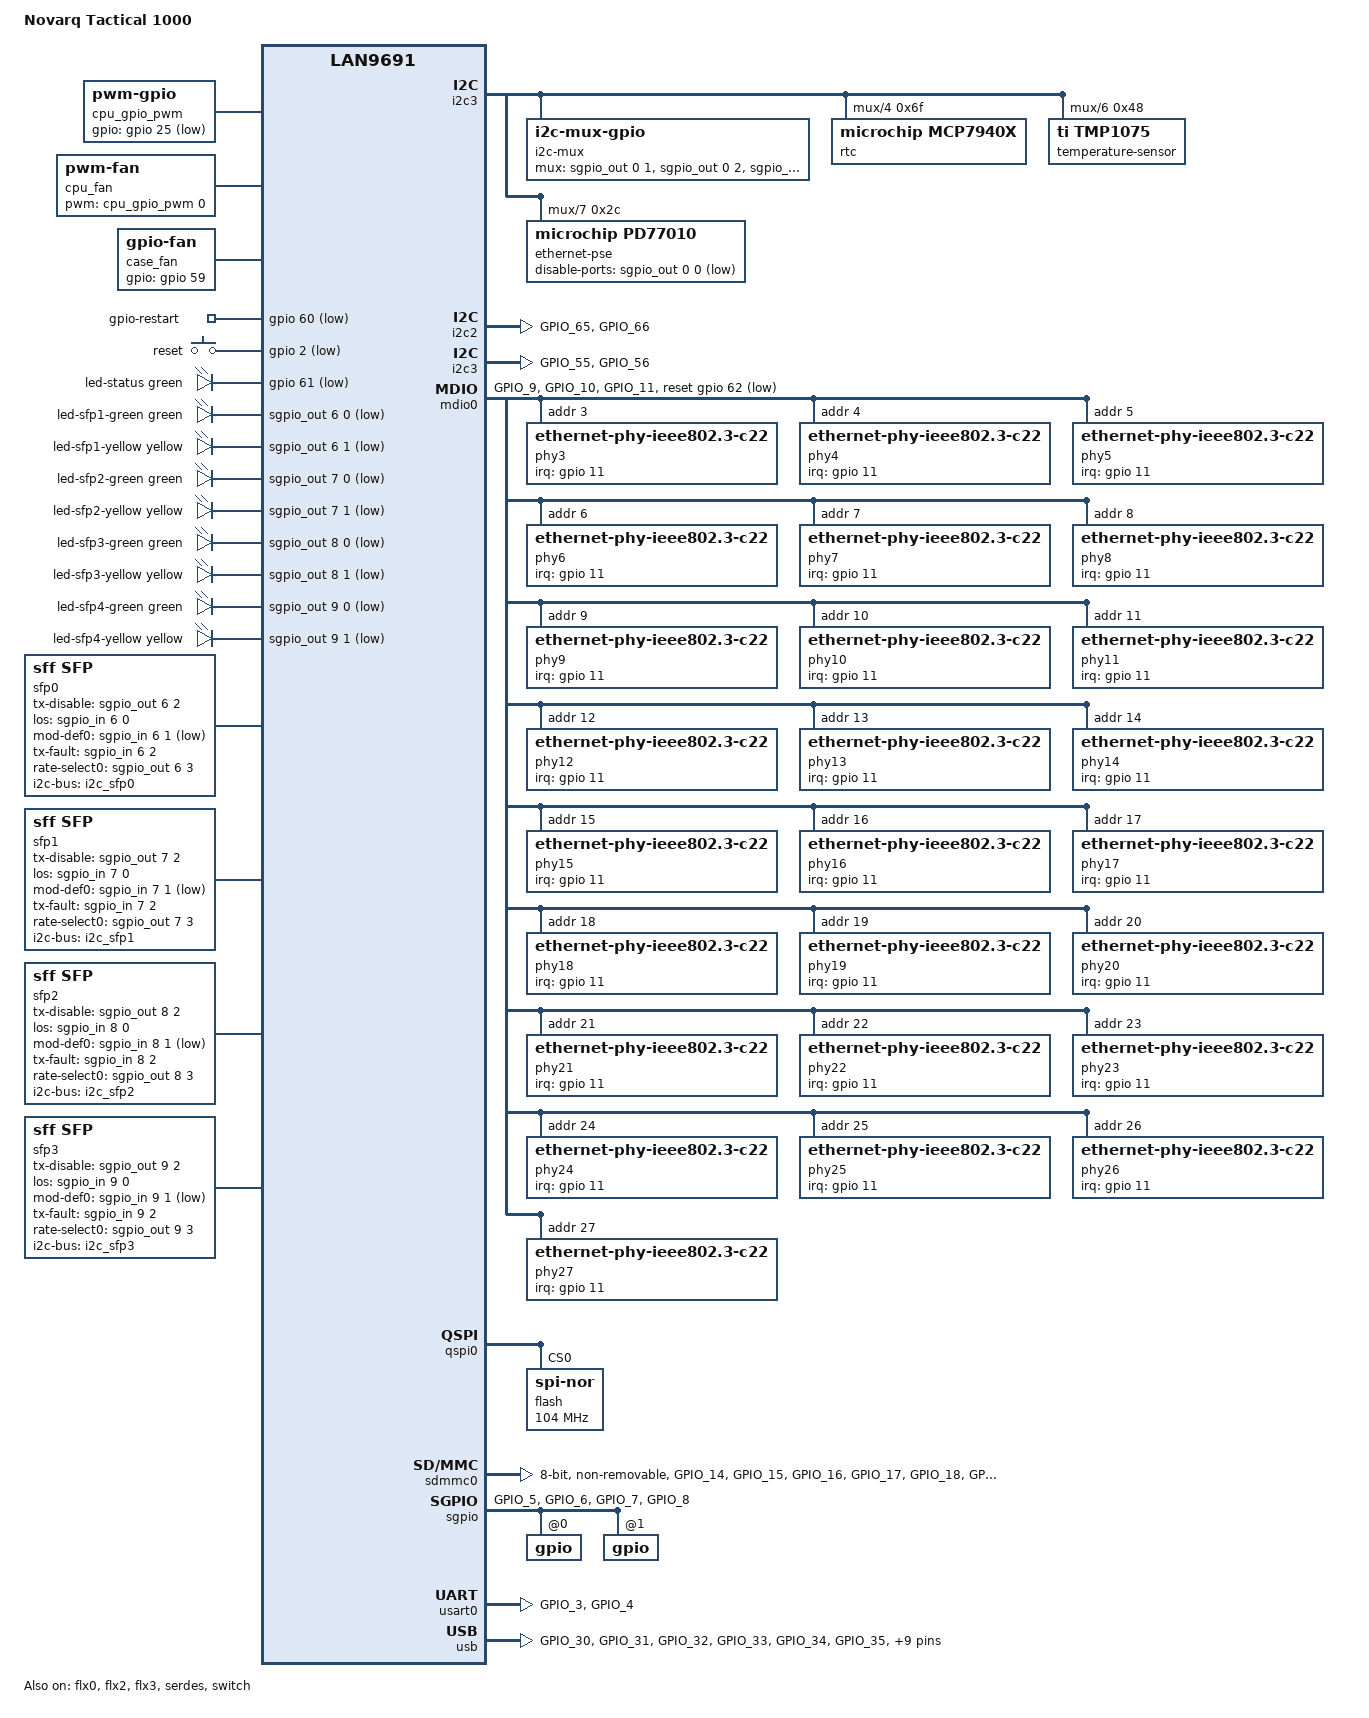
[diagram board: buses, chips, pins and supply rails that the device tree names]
// SPDX-License-Identifier: (GPL-2.0-or-later OR MIT)

/dts-v1/;

#include <dt-bindings/gpio/gpio.h>
#include <dt-bindings/input/input.h>
#include <dt-bindings/leds/common.h>
#include "lan9691.dtsi"

/ {
	model = "Novarq Tactical 1000";
	compatible = "novarq,tactical-1000", "microchip,lan9696", "microchip,lan9691";

	aliases {
		serial0 = &usart0;
	};

	chosen {
		stdout-path = "serial0:115200n8";
	};

	cpu_gpio_pwm: pwm {
		compatible = "pwm-gpio";
		gpios = <&gpio 25 GPIO_ACTIVE_LOW>;
		#pwm-cells = <3>;
	};

	cpu_fan: cpu-pwm-fan {
		compatible = "pwm-fan";
		pinctrl-names = "default";
		pinctrl-0 = <&fan_pins>;
		pwms = <&cpu_gpio_pwm 0 40000 0>;
	};

	case_fan: case-gpio-fan {
		compatible = "gpio-fan";
		#cooling-cells = <2>;
		gpios = <&gpio 59 GPIO_ACTIVE_HIGH>;
		gpio-fan,speed-map = <0	0>,
				     <2000 1>;
	};

	gpio-restart {
		compatible = "gpio-restart";
		gpios = <&gpio 60 GPIO_ACTIVE_LOW>;
		open-source;
		priority = <200>;
	};

	i2c-mux {
		compatible = "i2c-mux-gpio";
		#address-cells = <1>;
		#size-cells = <0>;
		i2c-parent = <&i2c3>;
		idle-state = <0x8>;
		mux-gpios = <&sgpio_out 0 1 GPIO_ACTIVE_HIGH>,
			    <&sgpio_out 0 2 GPIO_ACTIVE_HIGH>,
			    <&sgpio_out 0 3 GPIO_ACTIVE_HIGH>;
		settle-time-us = <100>;

		i2c_sfp2: i2c@0 {
			reg = <0x0>;
		};

		i2c_sfp1: i2c@1 {
			reg = <0x1>;
		};

		i2c_sfp0: i2c@2 {
			reg = <0x2>;
		};

		i2c_sfp3: i2c@3 {
			reg = <0x3>;
		};

		i2c_rtc: i2c@4 {
			reg = <0x4>;
			#address-cells = <1>;
			#size-cells = <0>;

			rtc@6f {
				compatible = "microchip,mcp7940x";
				reg = <0x6f>;
			};
		};

		i2c_tmp: i2c@6 {
			reg = <0x6>;
			#address-cells = <1>;
			#size-cells = <0>;

			temperature-sensor@48 {
				compatible = "ti,tmp1075";
				reg = <0x48>;
			};
		};

		i2c_poe: i2c@7 {
			reg = <0x7>;
			#address-cells = <1>;
			#size-cells = <0>;

			ethernet-pse@2c {
				compatible = "microchip,pd77010";
				reg = <0x2c>;
				disable-ports-gpios = <&sgpio_out 0 0 GPIO_ACTIVE_LOW>;

				managers {
					#address-cells = <1>;
					#size-cells = <0>;

					pd7718t3_0: manager@0 {
						reg = <0>;
						#address-cells = <1>;
						#size-cells = <0>;

						phys0: port@0 {
							reg = <0>;
						};

						phys1: port@1 {
							reg = <1>;
						};

						phys2: port@2 {
							reg = <2>;
						};

						phys3: port@3 {
							reg = <3>;
						};

						phys4: port@4 {
							reg = <4>;
						};

						phys5: port@5 {
							reg = <5>;
						};

						phys6: port@6 {
							reg = <6>;
						};

						phys7: port@7 {
							reg = <7>;
						};
					};

					pd7718t3_1: manager@1 {
						reg = <1>;
						#address-cells = <1>;
						#size-cells = <0>;

						phys8: port@0 {
							reg = <0>;
						};

						phys9: port@1 {
							reg = <1>;
						};

						phys10: port@2 {
							reg = <2>;
						};

						phys11: port@3 {
							reg = <3>;
						};

						phys12: port@4 {
							reg = <4>;
						};

						phys13: port@5 {
							reg = <5>;
						};

						phys14: port@6 {
							reg = <6>;
						};

						phys15: port@7 {
							reg = <7>;
						};
					};

					pd7718t3_2: manager@2 {
						reg = <2>;
						#address-cells = <1>;
						#size-cells = <0>;

						phys16: port@0 {
							reg = <0>;
						};

						phys17: port@1 {
							reg = <1>;
						};

						phys18: port@2 {
							reg = <2>;
						};

						phys19: port@3 {
							reg = <3>;
						};

						phys20: port@4 {
							reg = <4>;
						};

						phys21: port@5 {
							reg = <5>;
						};

						phys22: port@6 {
							reg = <6>;
						};

						phys23: port@7 {
							reg = <7>;
						};
					};

					pd7718t3_3: manager@3 {
						reg = <3>;
						#address-cells = <1>;
						#size-cells = <0>;

						phys24: port@0 {
							reg = <0>;
						};

						phys25: port@1 {
							reg = <1>;
						};

						phys26: port@2 {
							reg = <2>;
						};

						phys27: port@3 {
							reg = <3>;
						};

						phys28: port@4 {
							reg = <4>;
						};

						phys29: port@5 {
							reg = <5>;
						};

						phys30: port@6 {
							reg = <6>;
						};

						phys31: port@7 {
							reg = <7>;
						};
					};

					pd7718t3_4: manager@4 {
						reg = <4>;
						#address-cells = <1>;
						#size-cells = <0>;

						phys32: port@0 {
							reg = <0>;
						};

						phys33: port@1 {
							reg = <1>;
						};

						phys34: port@2 {
							reg = <2>;
						};

						phys35: port@3 {
							reg = <3>;
						};

						phys36: port@4 {
							reg = <4>;
						};

						phys37: port@5 {
							reg = <5>;
						};

						phys38: port@6 {
							reg = <6>;
						};

						phys39: port@7 {
							reg = <7>;
						};
					};

					pd7718t3_5: manager@5 {
						reg = <5>;
						#address-cells = <1>;
						#size-cells = <0>;

						phys40: port@0 {
							reg = <0>;
						};

						phys41: port@1 {
							reg = <1>;
						};

						phys42: port@2 {
							reg = <2>;
						};

						phys43: port@3 {
							reg = <3>;
						};

						phys44: port@4 {
							reg = <4>;
						};

						phys45: port@5 {
							reg = <5>;
						};

						phys46: port@6 {
							reg = <6>;
						};

						phys47: port@7 {
							reg = <7>;
						};
					};
				};

				pse-pis {
					#address-cells = <1>;
					#size-cells = <0>;

					pse_pi0: pse-pi@0 {
						reg = <0>;
						#pse-cells = <0>;
						pairset-names = "alternative-a", "alternative-b";
						pairsets = <&phys0>, <&phys1>;
						polarity-supported = "MDI-X", "S";
						vpwr-supply = <&pd7718t3_0>;
					};

					pse_pi1: pse-pi@1 {
						reg = <1>;
						#pse-cells = <0>;
						pairset-names = "alternative-a", "alternative-b";
						pairsets = <&phys3>, <&phys2>;
						polarity-supported = "MDI-X", "S";
						vpwr-supply = <&pd7718t3_0>;
					};

					pse_pi2: pse-pi@2 {
						reg = <2>;
						#pse-cells = <0>;
						pairset-names = "alternative-a", "alternative-b";
						pairsets = <&phys4>, <&phys5>;
						polarity-supported = "MDI-X", "S";
						vpwr-supply = <&pd7718t3_0>;
					};

					pse_pi3: pse-pi@3 {
						reg = <3>;
						#pse-cells = <0>;
						pairset-names = "alternative-a", "alternative-b";
						pairsets = <&phys7>, <&phys6>;
						polarity-supported = "MDI-X", "S";
						vpwr-supply = <&pd7718t3_0>;
					};

					pse_pi4: pse-pi@4 {
						reg = <4>;
						#pse-cells = <0>;
						pairset-names = "alternative-a", "alternative-b";
						pairsets = <&phys8>, <&phys9>;
						polarity-supported = "MDI-X", "S";
						vpwr-supply = <&pd7718t3_1>;
					};

					pse_pi5: pse-pi@5 {
						reg = <5>;
						#pse-cells = <0>;
						pairset-names = "alternative-a", "alternative-b";
						pairsets = <&phys11>, <&phys10>;
						polarity-supported = "MDI-X", "S";
						vpwr-supply = <&pd7718t3_1>;
					};

					pse_pi6: pse-pi@6 {
						reg = <6>;
						#pse-cells = <0>;
						pairset-names = "alternative-a", "alternative-b";
						pairsets = <&phys12>, <&phys13>;
						polarity-supported = "MDI-X", "S";
						vpwr-supply = <&pd7718t3_1>;
					};

					pse_pi7: pse-pi@7 {
						reg = <7>;
						#pse-cells = <0>;
						pairset-names = "alternative-a", "alternative-b";
						pairsets = <&phys15>, <&phys14>;
						polarity-supported = "MDI-X", "S";
						vpwr-supply = <&pd7718t3_1>;
					};

					pse_pi8: pse-pi@8 {
						reg = <8>;
						#pse-cells = <0>;
						pairset-names = "alternative-a", "alternative-b";
						pairsets = <&phys16>, <&phys17>;
						polarity-supported = "MDI-X", "S";
						vpwr-supply = <&pd7718t3_2>;
					};

					pse_pi9: pse-pi@9 {
						reg = <9>;
						#pse-cells = <0>;
						pairset-names = "alternative-a", "alternative-b";
						pairsets = <&phys19>, <&phys18>;
						polarity-supported = "MDI-X", "S";
						vpwr-supply = <&pd7718t3_2>;
					};

					pse_pi10: pse-pi@10 {
						reg = <10>;
						#pse-cells = <0>;
						pairset-names = "alternative-a", "alternative-b";
						pairsets = <&phys20>, <&phys21>;
						polarity-supported = "MDI-X", "S";
						vpwr-supply = <&pd7718t3_2>;
					};

					pse_pi11: pse-pi@11 {
						reg = <11>;
						#pse-cells = <0>;
						pairset-names = "alternative-a", "alternative-b";
						pairsets = <&phys23>, <&phys22>;
						polarity-supported = "MDI-X", "S";
						vpwr-supply = <&pd7718t3_2>;
					};

					pse_pi12: pse-pi@12 {
						reg = <12>;
						#pse-cells = <0>;
						pairset-names = "alternative-a", "alternative-b";
						pairsets = <&phys24>, <&phys25>;
						polarity-supported = "MDI-X", "S";
						vpwr-supply = <&pd7718t3_3>;
					};

					pse_pi13: pse-pi@13 {
						reg = <13>;
						#pse-cells = <0>;
						pairset-names = "alternative-a", "alternative-b";
						pairsets = <&phys27>, <&phys26>;
						polarity-supported = "MDI-X", "S";
						vpwr-supply = <&pd7718t3_3>;
					};

					pse_pi14: pse-pi@14 {
						reg = <14>;
						#pse-cells = <0>;
						pairset-names = "alternative-a", "alternative-b";
						pairsets = <&phys28>, <&phys29>;
						polarity-supported = "MDI-X", "S";
						vpwr-supply = <&pd7718t3_3>;
					};

					pse_pi15: pse-pi@15 {
						reg = <15>;
						#pse-cells = <0>;
						pairset-names = "alternative-a", "alternative-b";
						pairsets = <&phys31>, <&phys30>;
						polarity-supported = "MDI-X", "S";
						vpwr-supply = <&pd7718t3_3>;
					};

					pse_pi16: pse-pi@16 {
						reg = <16>;
						#pse-cells = <0>;
						pairset-names = "alternative-a", "alternative-b";
						pairsets = <&phys32>, <&phys33>;
						polarity-supported = "MDI-X", "S";
						vpwr-supply = <&pd7718t3_4>;
					};

					pse_pi17: pse-pi@17 {
						reg = <17>;
						#pse-cells = <0>;
						pairset-names = "alternative-a", "alternative-b";
						pairsets = <&phys35>, <&phys34>;
						polarity-supported = "MDI-X", "S";
						vpwr-supply = <&pd7718t3_4>;
					};

					pse_pi18: pse-pi@18 {
						reg = <18>;
						#pse-cells = <0>;
						pairset-names = "alternative-a", "alternative-b";
						pairsets = <&phys36>, <&phys37>;
						polarity-supported = "MDI-X", "S";
						vpwr-supply = <&pd7718t3_4>;
					};

					pse_pi19: pse-pi@19 {
						reg = <19>;
						#pse-cells = <0>;
						pairset-names = "alternative-a", "alternative-b";
						pairsets = <&phys39>, <&phys38>;
						polarity-supported = "MDI-X", "S";
						vpwr-supply = <&pd7718t3_4>;
					};

					pse_pi20: pse-pi@20 {
						reg = <20>;
						#pse-cells = <0>;
						pairset-names = "alternative-a", "alternative-b";
						pairsets = <&phys40>, <&phys41>;
						polarity-supported = "MDI-X", "S";
						vpwr-supply = <&pd7718t3_5>;
					};

					pse_pi21: pse-pi@21 {
						reg = <21>;
						#pse-cells = <0>;
						pairset-names = "alternative-a", "alternative-b";
						pairsets = <&phys43>, <&phys42>;
						polarity-supported = "MDI-X", "S";
						vpwr-supply = <&pd7718t3_5>;
					};

					pse_pi22: pse-pi@22 {
						reg = <22>;
						#pse-cells = <0>;
						pairset-names = "alternative-a", "alternative-b";
						pairsets = <&phys44>, <&phys45>;
						polarity-supported = "MDI-X", "S";
						vpwr-supply = <&pd7718t3_5>;
					};

					pse_pi23: pse-pi@23 {
						reg = <23>;
						#pse-cells = <0>;
						pairset-names = "alternative-a", "alternative-b";
						pairsets = <&phys47>, <&phys46>;
						polarity-supported = "MDI-X", "S";
						vpwr-supply = <&pd7718t3_5>;
					};
				};
			};
		};
	};

	keys {
		compatible = "gpio-keys";
		pinctrl-0 = <&button_pins>;
		pinctrl-names = "default";

		key-reset {
			label = "reset";
			gpios = <&gpio 2 GPIO_ACTIVE_LOW>;
			linux,code = <KEY_RESTART>;
		};
	};

	leds {
		compatible = "gpio-leds";

		led-status {
			color = <LED_COLOR_ID_GREEN>;
			function = LED_FUNCTION_STATUS;
			gpios = <&gpio 61 GPIO_ACTIVE_LOW>;
			default-state = "on";
		};

		led-sfp1-green {
			color = <LED_COLOR_ID_GREEN>;
			function = LED_FUNCTION_LAN;
			function-enumerator = <0>;
			gpios = <&sgpio_out 6 0 GPIO_ACTIVE_LOW>;
			default-state = "off";
		};

		led-sfp1-yellow {
			color = <LED_COLOR_ID_YELLOW>;
			function = LED_FUNCTION_LAN;
			function-enumerator = <0>;
			gpios = <&sgpio_out 6 1 GPIO_ACTIVE_LOW>;
			default-state = "off";
		};

		led-sfp2-green {
			color = <LED_COLOR_ID_GREEN>;
			function = LED_FUNCTION_LAN;
			function-enumerator = <1>;
			gpios = <&sgpio_out 7 0 GPIO_ACTIVE_LOW>;
			default-state = "off";
		};

		led-sfp2-yellow {
			color = <LED_COLOR_ID_YELLOW>;
			function = LED_FUNCTION_LAN;
			function-enumerator = <1>;
			gpios = <&sgpio_out 7 1 GPIO_ACTIVE_LOW>;
			default-state = "off";
		};

		led-sfp3-green {
			color = <LED_COLOR_ID_GREEN>;
			function = LED_FUNCTION_LAN;
			function-enumerator = <2>;
			gpios = <&sgpio_out 8 0 GPIO_ACTIVE_LOW>;
			default-state = "off";
		};

		led-sfp3-yellow {
			color = <LED_COLOR_ID_YELLOW>;
			function = LED_FUNCTION_LAN;
			function-enumerator = <2>;
			gpios = <&sgpio_out 8 1 GPIO_ACTIVE_LOW>;
			default-state = "off";
		};

		led-sfp4-green {
			color = <LED_COLOR_ID_GREEN>;
			function = LED_FUNCTION_LAN;
			function-enumerator = <3>;
			gpios = <&sgpio_out 9 0 GPIO_ACTIVE_LOW>;
			default-state = "off";
		};

		led-sfp4-yellow {
			color = <LED_COLOR_ID_YELLOW>;
			function = LED_FUNCTION_LAN;
			function-enumerator = <3>;
			gpios = <&sgpio_out 9 1 GPIO_ACTIVE_LOW>;
			default-state = "off";
		};
	};

	sfp0: sfp0 {
		compatible = "sff,sfp";
		i2c-bus = <&i2c_sfp0>;
		tx-disable-gpios = <&sgpio_out 6 2 GPIO_ACTIVE_HIGH>;
		los-gpios = <&sgpio_in 6 0 GPIO_ACTIVE_HIGH>;
		mod-def0-gpios = <&sgpio_in 6 1 GPIO_ACTIVE_LOW>;
		tx-fault-gpios = <&sgpio_in 6 2 GPIO_ACTIVE_HIGH>;
		/* RS1 is internally tied to RS0 */
		rate-select0-gpios = <&sgpio_out 6 3 GPIO_ACTIVE_HIGH>;
	};

	sfp1: sfp1 {
		compatible = "sff,sfp";
		i2c-bus = <&i2c_sfp1>;
		tx-disable-gpios = <&sgpio_out 7 2 GPIO_ACTIVE_HIGH>;
		los-gpios = <&sgpio_in 7 0 GPIO_ACTIVE_HIGH>;
		mod-def0-gpios = <&sgpio_in 7 1 GPIO_ACTIVE_LOW>;
		tx-fault-gpios = <&sgpio_in 7 2 GPIO_ACTIVE_HIGH>;
		/* RS1 is internally tied to RS0 */
		rate-select0-gpios = <&sgpio_out 7 3 GPIO_ACTIVE_HIGH>;
	};

	sfp2: sfp2 {
		compatible = "sff,sfp";
		i2c-bus = <&i2c_sfp2>;
		tx-disable-gpios = <&sgpio_out 8 2 GPIO_ACTIVE_HIGH>;
		los-gpios = <&sgpio_in 8 0 GPIO_ACTIVE_HIGH>;
		mod-def0-gpios = <&sgpio_in 8 1 GPIO_ACTIVE_LOW>;
		tx-fault-gpios = <&sgpio_in 8 2 GPIO_ACTIVE_HIGH>;
		/* RS1 is internally tied to RS0 */
		rate-select0-gpios = <&sgpio_out 8 3 GPIO_ACTIVE_HIGH>;
	};

	sfp3: sfp3 {
		compatible = "sff,sfp";
		i2c-bus = <&i2c_sfp3>;
		tx-disable-gpios = <&sgpio_out 9 2 GPIO_ACTIVE_HIGH>;
		los-gpios = <&sgpio_in 9 0 GPIO_ACTIVE_HIGH>;
		mod-def0-gpios = <&sgpio_in 9 1 GPIO_ACTIVE_LOW>;
		tx-fault-gpios = <&sgpio_in 9 2 GPIO_ACTIVE_HIGH>;
		/* RS1 is internally tied to RS0 */
		rate-select0-gpios = <&sgpio_out 9 3 GPIO_ACTIVE_HIGH>;
	};
};

&gpio {
	button_pins: button-pins {
		pins = "GPIO_2";
		function = "gpio";
	};

	case_fan_pins: case-fan-pins {
		pins = "GPIO_59";
		function = "gpio";
	};

	emmc_sd_pins: emmc-sd-pins {
		/* eMMC_SD - CMD, CLK, D0, D1, D2, D3, D4, D5, D6, D7, RSTN */
		pins = "GPIO_14", "GPIO_15", "GPIO_16", "GPIO_17",
		       "GPIO_18", "GPIO_19", "GPIO_20", "GPIO_21",
		       "GPIO_22", "GPIO_23", "GPIO_24";
		function = "emmc_sd";
	};

	fan_pins: fan-pins {
		pins = "GPIO_25", "GPIO_26";
		function = "gpio";
	};

	fc0_pins: fc0-pins {
		pins = "GPIO_3", "GPIO_4";
		function = "fc";
	};


	fc2_pins: fc2-pins {
		pins = "GPIO_65", "GPIO_66";
		function = "fc";
	};

	fc3_pins: fc3-pins {
		pins = "GPIO_55", "GPIO_56";
		function = "fc";
	};

	mdio_pins: mdio-pins {
		pins = "GPIO_9", "GPIO_10";
		function = "miim";
	};

	mdio_irq_pins: mdio-irq-pins {
		pins = "GPIO_11";
		function = "miim_irq";
	};

	sgpio_pins: sgpio-pins {
		/* SCK, D0, D1, LD */
		pins = "GPIO_5", "GPIO_6", "GPIO_7", "GPIO_8";
		function = "sgpio_a";
	};

	usb_ulpi_pins: usb-ulpi-pins {
		pins = "GPIO_30", "GPIO_31", "GPIO_32", "GPIO_33",
		       "GPIO_34", "GPIO_35", "GPIO_36", "GPIO_37",
		       "GPIO_38", "GPIO_39", "GPIO_40", "GPIO_41";
		function = "usb_ulpi";
	};

	usb_rst_pins: usb-rst-pins {
		pins = "GPIO_12";
		function = "usb2phy_rst";
	};

	usb_over_pins: usb-over-pins {
		pins = "GPIO_13";
		function = "usb_over_detect";
	};

	usb_power_pins: usb-power-pins {
		pins = "GPIO_1";
		function = "usb_power";
	};
};

&flx0 {
	atmel,flexcom-mode = <ATMEL_FLEXCOM_MODE_USART>;
	status = "okay";
};

&flx2 {
	atmel,flexcom-mode = <ATMEL_FLEXCOM_MODE_TWI>;
	status = "okay";
};

&flx3 {
	atmel,flexcom-mode = <ATMEL_FLEXCOM_MODE_TWI>;
	status = "okay";
};

&i2c2 {
	pinctrl-0 = <&fc2_pins>;
	pinctrl-names = "default";
	i2c-analog-filter;
	i2c-digital-filter;
	i2c-digital-filter-width-ns = <35>;
	i2c-sda-hold-time-ns = <1500>;
	status = "okay";

	/* ATECC608C lives here on 0x60 */
};

&i2c3 {
	pinctrl-0 = <&fc3_pins>;
	pinctrl-names = "default";
	i2c-analog-filter;
	i2c-digital-filter;
	i2c-digital-filter-width-ns = <35>;
	i2c-sda-hold-time-ns = <1500>;
	status = "okay";
};

&mdio0 {
	pinctrl-0 = <&mdio_pins>, <&mdio_irq_pins>;
	pinctrl-names = "default";
	reset-gpios = <&gpio 62 GPIO_ACTIVE_LOW>;
	status = "okay";

	phy3: phy@3 {
		compatible = "ethernet-phy-ieee802.3-c22";
		reg = <3>;
		interrupts = <11 IRQ_TYPE_LEVEL_LOW>;
		interrupt-parent = <&gpio>;
	};

	phy4: phy@4 {
		compatible = "ethernet-phy-ieee802.3-c22";
		reg = <4>;
		interrupts = <11 IRQ_TYPE_LEVEL_LOW>;
		interrupt-parent = <&gpio>;
	};

	phy5: phy@5 {
		compatible = "ethernet-phy-ieee802.3-c22";
		reg = <5>;
		interrupts = <11 IRQ_TYPE_LEVEL_LOW>;
		interrupt-parent = <&gpio>;
	};

	phy6: phy@6 {
		compatible = "ethernet-phy-ieee802.3-c22";
		reg = <6>;
		interrupts = <11 IRQ_TYPE_LEVEL_LOW>;
		interrupt-parent = <&gpio>;
	};

	phy7: phy@7 {
		compatible = "ethernet-phy-ieee802.3-c22";
		reg = <7>;
		interrupts = <11 IRQ_TYPE_LEVEL_LOW>;
		interrupt-parent = <&gpio>;
	};

	phy8: phy@8 {
		compatible = "ethernet-phy-ieee802.3-c22";
		reg = <8>;
		interrupts = <11 IRQ_TYPE_LEVEL_LOW>;
		interrupt-parent = <&gpio>;
	};

	phy9: phy@9 {
		compatible = "ethernet-phy-ieee802.3-c22";
		reg = <9>;
		interrupts = <11 IRQ_TYPE_LEVEL_LOW>;
		interrupt-parent = <&gpio>;
	};

	phy10: phy@10 {
		compatible = "ethernet-phy-ieee802.3-c22";
		reg = <10>;
		interrupts = <11 IRQ_TYPE_LEVEL_LOW>;
		interrupt-parent = <&gpio>;
	};

	phy11: phy@11 {
		compatible = "ethernet-phy-ieee802.3-c22";
		reg = <11>;
		interrupts = <11 IRQ_TYPE_LEVEL_LOW>;
		interrupt-parent = <&gpio>;
	};

	phy12: phy@12 {
		compatible = "ethernet-phy-ieee802.3-c22";
		reg = <12>;
		interrupts = <11 IRQ_TYPE_LEVEL_LOW>;
		interrupt-parent = <&gpio>;
	};

	phy13: phy@13 {
		compatible = "ethernet-phy-ieee802.3-c22";
		reg = <13>;
		interrupts = <11 IRQ_TYPE_LEVEL_LOW>;
		interrupt-parent = <&gpio>;
	};

	phy14: phy@14 {
		compatible = "ethernet-phy-ieee802.3-c22";
		reg = <14>;
		interrupts = <11 IRQ_TYPE_LEVEL_LOW>;
		interrupt-parent = <&gpio>;
	};

	phy15: phy@15 {
		compatible = "ethernet-phy-ieee802.3-c22";
		reg = <15>;
		interrupts = <11 IRQ_TYPE_LEVEL_LOW>;
		interrupt-parent = <&gpio>;
	};

	phy16: phy@16 {
		compatible = "ethernet-phy-ieee802.3-c22";
		reg = <16>;
		interrupts = <11 IRQ_TYPE_LEVEL_LOW>;
		interrupt-parent = <&gpio>;
	};

	phy17: phy@17 {
		compatible = "ethernet-phy-ieee802.3-c22";
		reg = <17>;
		interrupts = <11 IRQ_TYPE_LEVEL_LOW>;
		interrupt-parent = <&gpio>;
	};

	phy18: phy@18 {
		compatible = "ethernet-phy-ieee802.3-c22";
		reg = <18>;
		interrupts = <11 IRQ_TYPE_LEVEL_LOW>;
		interrupt-parent = <&gpio>;
	};

	phy19: phy@19 {
		compatible = "ethernet-phy-ieee802.3-c22";
		reg = <19>;
		interrupts = <11 IRQ_TYPE_LEVEL_LOW>;
		interrupt-parent = <&gpio>;
	};

	phy20: phy@20 {
		compatible = "ethernet-phy-ieee802.3-c22";
		reg = <20>;
		interrupts = <11 IRQ_TYPE_LEVEL_LOW>;
		interrupt-parent = <&gpio>;
	};

	phy21: phy@21 {
		compatible = "ethernet-phy-ieee802.3-c22";
		reg = <21>;
		interrupts = <11 IRQ_TYPE_LEVEL_LOW>;
		interrupt-parent = <&gpio>;
	};

	phy22: phy@22 {
		compatible = "ethernet-phy-ieee802.3-c22";
		reg = <22>;
		interrupts = <11 IRQ_TYPE_LEVEL_LOW>;
		interrupt-parent = <&gpio>;
	};

	phy23: phy@23 {
		compatible = "ethernet-phy-ieee802.3-c22";
		reg = <23>;
		interrupts = <11 IRQ_TYPE_LEVEL_LOW>;
		interrupt-parent = <&gpio>;
	};

	phy24: phy@24 {
		compatible = "ethernet-phy-ieee802.3-c22";
		reg = <24>;
		interrupts = <11 IRQ_TYPE_LEVEL_LOW>;
		interrupt-parent = <&gpio>;
		pses = <&pse_pi2>;
	};

	phy25: phy@25 {
		compatible = "ethernet-phy-ieee802.3-c22";
		reg = <25>;
		interrupts = <11 IRQ_TYPE_LEVEL_LOW>;
		interrupt-parent = <&gpio>;
	};

	phy26: phy@26 {
		compatible = "ethernet-phy-ieee802.3-c22";
		reg = <26>;
		interrupts = <11 IRQ_TYPE_LEVEL_LOW>;
		interrupt-parent = <&gpio>;
	};

	phy27: phy@27 {
		compatible = "ethernet-phy-ieee802.3-c22";
		reg = <27>;
		interrupts = <11 IRQ_TYPE_LEVEL_LOW>;
		interrupt-parent = <&gpio>;
	};
};

&qspi0 {
	status = "okay";

	flash@0 {
		compatible = "jedec,spi-nor";
		reg = <0>;
		spi-max-frequency = <104000000>;
		#address-cells = <1>;
		#size-cells = <1>;
		spi-tx-bus-width = <1>;
		spi-rx-bus-width = <4>;
		m25p,fast-read;
	};
};

&serdes {
	status = "okay";
};

&sdmmc0 {
	pinctrl-0 = <&emmc_sd_pins>;
	pinctrl-names = "default";
	bus-width = <8>;
	mmc-ddr-1_8v;
	non-removable;
	disable-wp;
	status = "okay";
};

&serdes {
	status = "okay";
};

&sgpio {
	pinctrl-0 = <&sgpio_pins>;
	pinctrl-names = "default";
	microchip,sgpio-port-ranges = <0 1>, <6 9>;
	status = "okay";

	gpio@0 {
		ngpios = <128>;
	};
	gpio@1 {
		ngpios = <128>;
	};
};

&switch {
	status = "okay";

	ethernet-ports {
		#address-cells = <1>;
		#size-cells = <0>;

		port0: port@0 {
			reg = <0>;
			phy-handle = <&phy4>;
			phy-mode = "qsgmii";
			phys = <&serdes 0>;
			microchip,bandwidth = <1000>;
			openwrt,netdev-name = "lan4";
		};

		port1: port@1 {
			reg = <1>;
			phy-handle = <&phy5>;
			phy-mode = "qsgmii";
			phys = <&serdes 0>;
			microchip,bandwidth = <1000>;
			openwrt,netdev-name = "lan3";
		};

		port2: port@2 {
			reg = <2>;
			phy-handle = <&phy6>;
			phy-mode = "qsgmii";
			phys = <&serdes 0>;
			microchip,bandwidth = <1000>;
			openwrt,netdev-name = "lan2";
		};

		port3: port@3 {
			reg = <3>;
			phy-handle = <&phy7>;
			phy-mode = "qsgmii";
			phys = <&serdes 0>;
			microchip,bandwidth = <1000>;
			openwrt,netdev-name = "lan1";
		};

		port4: port@4 {
			reg = <4>;
			phy-handle = <&phy8>;
			phy-mode = "qsgmii";
			phys = <&serdes 1>;
			microchip,bandwidth = <1000>;
			openwrt,netdev-name = "lan8";
		};

		port5: port@5 {
			reg = <5>;
			phy-handle = <&phy9>;
			phy-mode = "qsgmii";
			phys = <&serdes 1>;
			microchip,bandwidth = <1000>;
			openwrt,netdev-name = "lan7";
		};

		port6: port@6 {
			reg = <6>;
			phy-handle = <&phy10>;
			phy-mode = "qsgmii";
			phys = <&serdes 1>;
			microchip,bandwidth = <1000>;
			openwrt,netdev-name = "lan6";
		};

		port7: port@7 {
			reg = <7>;
			phy-handle = <&phy11>;
			phy-mode = "qsgmii";
			phys = <&serdes 1>;
			microchip,bandwidth = <1000>;
			openwrt,netdev-name = "lan5";
		};

		port8: port@8 {
			reg = <8>;
			phy-handle = <&phy12>;
			phy-mode = "qsgmii";
			phys = <&serdes 2>;
			microchip,bandwidth = <1000>;
			openwrt,netdev-name = "lan12";
		};

		port9: port@9 {
			reg = <9>;
			phy-handle = <&phy13>;
			phy-mode = "qsgmii";
			phys = <&serdes 2>;
			microchip,bandwidth = <1000>;
			openwrt,netdev-name = "lan11";
		};

		port10: port@10 {
			reg = <10>;
			phy-handle = <&phy14>;
			phy-mode = "qsgmii";
			phys = <&serdes 2>;
			microchip,bandwidth = <1000>;
			openwrt,netdev-name = "lan10";
		};

		port11: port@11 {
			reg = <11>;
			phy-handle = <&phy15>;
			phy-mode = "qsgmii";
			phys = <&serdes 2>;
			microchip,bandwidth = <1000>;
			openwrt,netdev-name = "lan9";
		};

		port12: port@12 {
			reg = <12>;
			phy-handle = <&phy16>;
			phy-mode = "qsgmii";
			phys = <&serdes 3>;
			microchip,bandwidth = <1000>;
			openwrt,netdev-name = "lan16";
		};

		port13: port@13 {
			reg = <13>;
			phy-handle = <&phy17>;
			phy-mode = "qsgmii";
			phys = <&serdes 3>;
			microchip,bandwidth = <1000>;
			openwrt,netdev-name = "lan15";
		};

		port14: port@14 {
			reg = <14>;
			phy-handle = <&phy18>;
			phy-mode = "qsgmii";
			phys = <&serdes 3>;
			microchip,bandwidth = <1000>;
			openwrt,netdev-name = "lan14";
		};

		port15: port@15 {
			reg = <15>;
			phy-handle = <&phy19>;
			phy-mode = "qsgmii";
			phys = <&serdes 3>;
			microchip,bandwidth = <1000>;
			openwrt,netdev-name = "lan13";
		};

		port16: port@16 {
			reg = <16>;
			phy-handle = <&phy20>;
			phy-mode = "qsgmii";
			phys = <&serdes 4>;
			microchip,bandwidth = <1000>;
			openwrt,netdev-name = "lan20";
		};

		port17: port@17 {
			reg = <17>;
			phy-handle = <&phy21>;
			phy-mode = "qsgmii";
			phys = <&serdes 4>;
			microchip,bandwidth = <1000>;
			openwrt,netdev-name = "lan19";
		};

		port18: port@18 {
			reg = <18>;
			phy-handle = <&phy22>;
			phy-mode = "qsgmii";
			phys = <&serdes 4>;
			microchip,bandwidth = <1000>;
			openwrt,netdev-name = "lan18";
		};

		port19: port@19 {
			reg = <19>;
			phy-handle = <&phy23>;
			phy-mode = "qsgmii";
			phys = <&serdes 4>;
			microchip,bandwidth = <1000>;
			openwrt,netdev-name = "lan17";
		};

		port20: port@20 {
			reg = <20>;
			phy-handle = <&phy24>;
			phy-mode = "qsgmii";
			phys = <&serdes 5>;
			microchip,bandwidth = <1000>;
			openwrt,netdev-name = "lan24";
		};

		port21: port@21 {
			reg = <21>;
			phy-handle = <&phy25>;
			phy-mode = "qsgmii";
			phys = <&serdes 5>;
			microchip,bandwidth = <1000>;
			openwrt,netdev-name = "lan23";
		};

		port22: port@22 {
			reg = <22>;
			phy-handle = <&phy26>;
			phy-mode = "qsgmii";
			phys = <&serdes 5>;
			microchip,bandwidth = <1000>;
			openwrt,netdev-name = "lan22";
		};

		port23: port@23 {
			reg = <23>;
			phy-handle = <&phy27>;
			phy-mode = "qsgmii";
			phys = <&serdes 5>;
			microchip,bandwidth = <1000>;
			openwrt,netdev-name = "lan21";
		};

		port24: port@24 {
			reg = <24>;
			phys = <&serdes 6>;
			phy-mode = "10gbase-r";
			sfp = <&sfp0>;
			managed = "in-band-status";
			microchip,bandwidth = <10000>;
			microchip,sd-sgpio = <24>;
			openwrt,netdev-name = "sfp1";
		};

		port25: port@25 {
			reg = <25>;
			phys = <&serdes 7>;
			phy-mode = "10gbase-r";
			sfp = <&sfp1>;
			managed = "in-band-status";
			microchip,bandwidth = <10000>;
			microchip,sd-sgpio = <28>;
			openwrt,netdev-name = "sfp2";
		};

		port26: port@26 {
			reg = <26>;
			phys = <&serdes 8>;
			phy-mode = "10gbase-r";
			sfp = <&sfp2>;
			managed = "in-band-status";
			microchip,bandwidth = <10000>;
			microchip,sd-sgpio = <32>;
			openwrt,netdev-name = "sfp3";
		};

		port27: port@27 {
			reg = <27>;
			phys = <&serdes 9>;
			phy-mode = "10gbase-r";
			sfp = <&sfp3>;
			managed = "in-band-status";
			microchip,bandwidth = <10000>;
			microchip,sd-sgpio = <36>;
			openwrt,netdev-name = "sfp4";
		};

		port29: port@29 {
			reg = <29>;
			phys = <&serdes 11>;
			phy-handle = <&phy3>;
			phy-mode = "rgmii-id";
			microchip,bandwidth = <1000>;
			openwrt,netdev-name = "mgmt";
		};
	};
};

&usart0 {
	pinctrl-0 = <&fc0_pins>;
	pinctrl-names = "default";
	status = "okay";
};

&usb {
	pinctrl-0 = <&usb_ulpi_pins>, <&usb_rst_pins>, <&usb_over_pins>, <&usb_power_pins>;
	pinctrl-names = "default";
	status = "okay";
};
